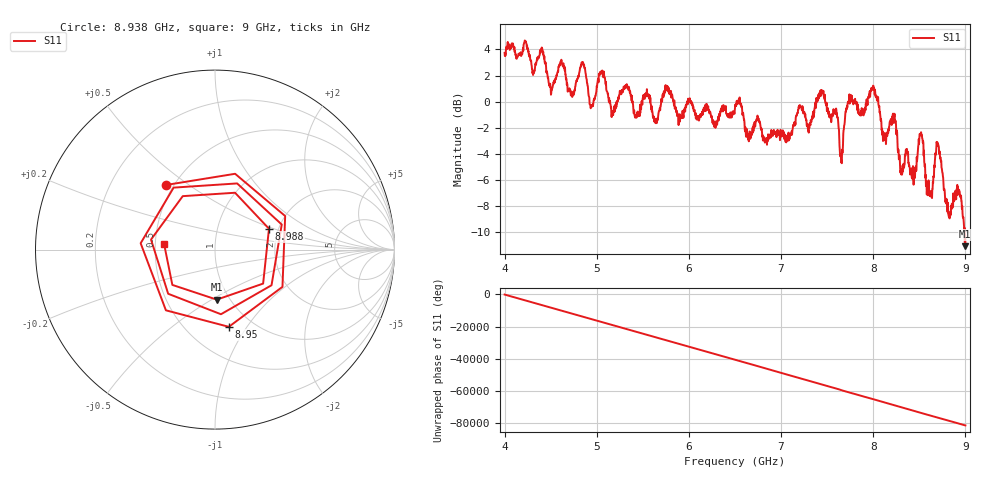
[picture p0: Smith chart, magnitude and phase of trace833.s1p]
! Created with skrf 1.8.0 (http://scikit-rf.org).
# Hz S RI R 50.0
!freq ReS11 ImS11
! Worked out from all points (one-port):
!   1601 points, 4 GHz to 9 GHz, reference 50 ohm
!   lowest |S11| = -11.1 dB at 8.994 GHz (marker M1), VSWR 1.77, Z = 43.6 - j26.4 ohm
!   |S11| at or under -10 dB: 8.991688 GHz to end of sweep
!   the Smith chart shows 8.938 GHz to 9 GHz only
!   S11 on the Smith chart (normalised r, x): 8.938 GHz: 0.46, +0.41; 8.95 GHz: 0.78, -0.83; 8.988 GHz: 1.78, +0.46; 9 GHz: 0.56, +0.04
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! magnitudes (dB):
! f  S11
! 4 GHz  3.7
! 4.406 GHz  4.1
! 4.503 GHz  0.5
! 4.625 GHz  2.9
! 4.944 GHz  -0.4
! 5.053 GHz  2.3
! 5.25 GHz  0.8
! 5.875 GHz  -0.9
! 6.5 GHz  -0.4
! 7.125 GHz  -2.1
! 7.444 GHz  0.9
! 7.656 GHz  -4.6
! 7.75 GHz  0.1
! 7.997 GHz  0.9
! 8.116 GHz  -2.9
! 8.222 GHz  -1.6
! 8.3 GHz  -5.4
! 8.375 GHz  -3.9
! 8.444 GHz  -5.7
! 8.519 GHz  -2.3
! 8.616 GHz  -7.0
! 8.7 GHz  -3.4
! 8.816 GHz  -8.7
! 8.938 GHz  -6.9
! 8.95 GHz  -7.2
! 8.988 GHz  -9.8
! 8.994 GHz  -11.1
! 9 GHz  -10.9
